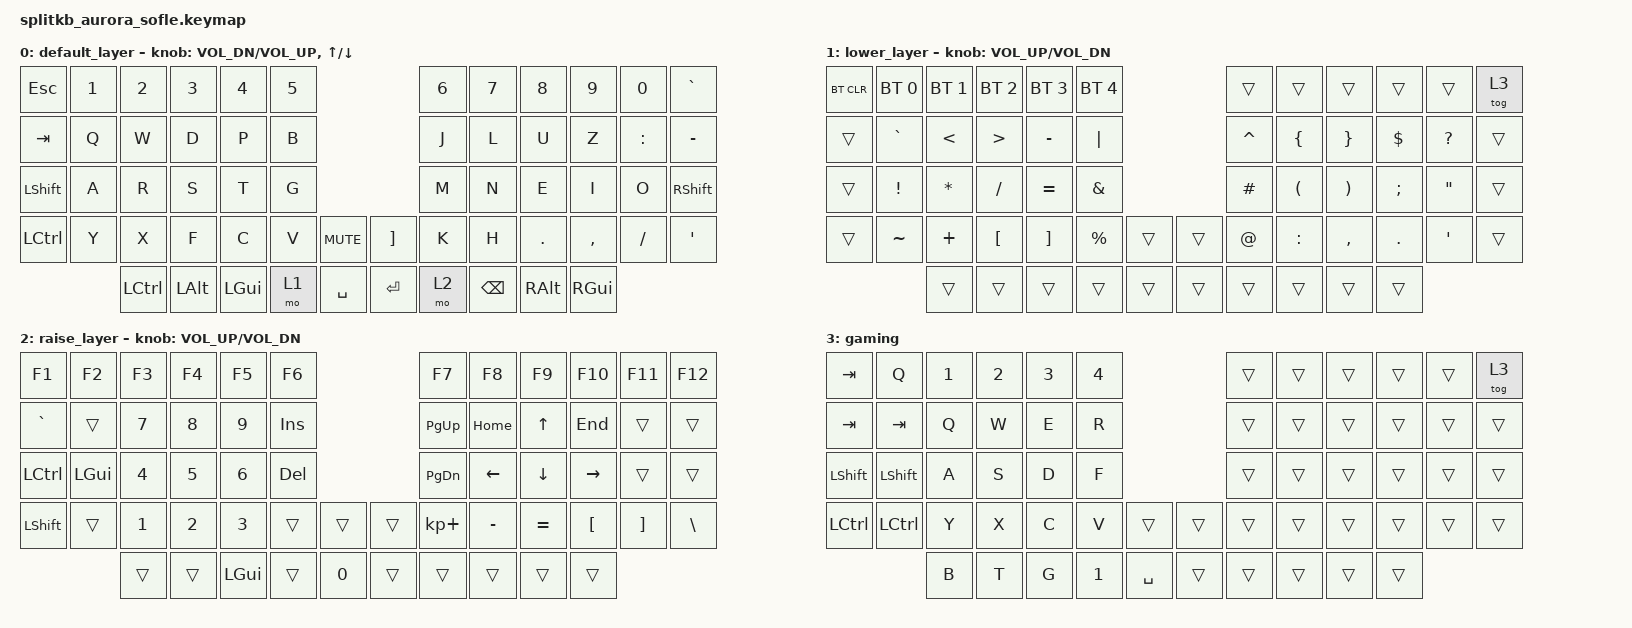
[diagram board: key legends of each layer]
/*
 * Copyright (c) 2023 The ZMK Contributors
 *
 * SPDX-License-Identifier: MIT
 */

#include <behaviors.dtsi>
#include <dt-bindings/zmk/bt.h>
#include <dt-bindings/zmk/keys.h>

/* Uncomment this block if using RGB */
/*
&led_strip {
    // chain-length = <6>;

    // chain-length = <35>; // Uncomment if using both per-key and underglow LEDs

    // chain-length = <29>; // Uncomment if using only per-key LEDs.
};
*/

/ {
    keymap {
        compatible = "zmk,keymap";

        default_layer {
            // ------------------------------------------------------------------------------------------------------------
            // |  ESC  |  1  |  2  |  3   |  4   |  5   |                   |  6   |  7    |  8    |  9   |   0   |   `   |
            // |  TAB  |  Q  |  W  |  E   |  R   |  T   |                   |  Y   |  U    |  I    |  O   |   P   |   -   |
            // |  CTRL |  A  |  S  |  D   |  F   |  G   |                   |  H   |  J    |  K    |  L   |   ;   |   '   |
            // | SHIFT |  Z  |  X  |  C   |  V   |  B   |   "["  |  |  "]"  |  N   |  M    |  ,    |  .   |   /   | SHIFT |
            //               |CTRL | ALT  | GUI  | LOWER|  SPACE |  | ENTER | RAISE| BSPC  | GUI   | RALT |

            bindings = <
&kp ESC         &kp N1  &kp N2     &kp N3    &kp N4    &kp N5                          &kp N6  &kp N7    &kp N8      &kp N9     &kp N0     &kp GRAVE
&kp TAB         &kp Q   &kp W      &kp D     &kp P     &kp B                           &kp J   &kp L     &kp U       &kp Z      &kp COLON  &kp MINUS
&kp LEFT_SHIFT  &kp A   &kp R      &kp S     &kp T     &kp G                           &kp M   &kp N     &kp E       &kp I      &kp O      &kp RIGHT_SHIFT
&kp LCTRL       &kp Y   &kp X      &kp F     &kp C     &kp V   &kp K_MUTE    &kp RBKT  &kp K   &kp H     &kp PERIOD  &kp COMMA  &kp FSLH   &kp APOSTROPHE
                        &kp LCTRL  &kp LALT  &kp LGUI  &mo 1   &kp SPACE     &kp RET   &mo 2   &kp BSPC  &kp RALT    &kp RGUI
            >;

            sensor-bindings =
                <&inc_dec_kp C_VOL_DN C_VOL_UP>,
                <&inc_dec_kp UP_ARROW DOWN_ARROW>;
        };

        lower_layer {
            // ------------------------------------------------------------------------------------------------------------
            // | BTCLR | BT1 | BT2 |  BT3 |  BT4 |  BT5 |                   |  UNL |       |       |      |       |       |
            // |  F1   |  F2 |  F3 |  F4  |  F5  |  F6  |                   |  F7  |  F8   |  F9   |  F10 |  F11  |  F12  |
            // |   `   |  !  |  @  |  #   |  $   |  %   |                   |  ^   |  &    |  *    |  (   |   )   |   ~   |
            // |       |     |     |      |      |      |        |  |       |      |  _    |  +    |  {   |   }   |  "|"  |
            //               |     |      |      |      |        |  |       |      |       |       |      |

            bindings = <
&bt BT_CLR  &bt BT_SEL 0  &bt BT_SEL 1   &bt BT_SEL 2      &bt BT_SEL 3       &bt BT_SEL 4                     &trans       &trans                &trans                 &trans         &trans             &tog 3
&trans      &kp GRAVE     &kp LESS_THAN  &kp GREATER_THAN  &kp MINUS          &kp PIPE                         &kp CARET    &kp LEFT_BRACE        &kp RIGHT_BRACE        &kp DOLLAR     &kp QMARK          &trans
&trans      &kp EXCL      &kp ASTERISK   &kp SLASH         &kp EQUAL          &kp AMPERSAND                    &kp HASH     &kp LEFT_PARENTHESIS  &kp RIGHT_PARENTHESIS  &kp SEMICOLON  &kp DOUBLE_QUOTES  &trans
&trans      &kp TILDE     &kp PLUS       &kp LEFT_BRACKET  &kp RIGHT_BRACKET  &kp PERCENT    &trans    &trans  &kp AT_SIGN  &kp COLON             &kp COMMA              &kp PERIOD     &kp SINGLE_QUOTE   &trans
                          &trans         &trans            &trans             &trans         &trans    &trans  &trans       &trans                &trans                 &trans
            >;

            sensor-bindings = <&inc_dec_kp C_VOL_UP C_VOL_DN>;
        };

        raise_layer {
            // ------------------------------------------------------------------------------------------------------------
            // |       |     |     |      |      |      |                   |      |       |       |      |       |       |
            // |   `   |  1  |  2  |  3   |  4   |  5   |                   |  6   |   7   |   8   |  9   |   0   |       |
            // |   F1  |  F2 |  F3 |  F4  |  F5  |  F6  |                   |      |   <-  |   v   |  ^   |  ->   |       |
            // |   F7  |  F8 |  F9 |  F10 |  F11 |  F12 |        |  |       |  +   |   -   |   =   |  [   |   ]   |   \   |
            //               |     |      |      |      |        |  |       |      |       |       |      |

            bindings = <
&kp F1            &kp F2        &kp F3  &kp F4  &kp F5        &kp F6                        &kp F7         &kp F8     &kp F9        &kp F10    &kp F11   &kp F12
&kp GRAVE         &trans        &kp N7  &kp N8  &kp N9        &kp INS                       &kp PAGE_UP    &kp HOME   &kp UP_ARROW  &kp END    &trans    &trans
&kp LEFT_CONTROL  &kp LEFT_GUI  &kp N4  &kp N5  &kp N6        &kp DELETE                    &kp PAGE_DOWN  &kp LEFT   &kp DOWN      &kp RIGHT  &trans    &trans
&kp LEFT_SHIFT    &trans        &kp N1  &kp N2  &kp N3        &trans      &trans    &trans  &kp KP_PLUS    &kp MINUS  &kp EQUAL     &kp LBKT   &kp RBKT  &kp BSLH
                                &trans  &trans  &kp LEFT_GUI  &trans      &kp N0    &trans  &trans         &trans     &trans        &trans
            >;

            sensor-bindings = <&inc_dec_kp C_VOL_UP C_VOL_DN>;
        };

        gaming {
            bindings = <
&kp TAB    &kp Q             &kp N1  &kp N2  &kp N3  &kp N4                             &trans  &trans  &trans  &trans  &trans  &tog 3
&kp TAB    &kp TAB           &kp Q   &kp W   &kp E   &kp R                              &trans  &trans  &trans  &trans  &trans  &trans
&kp LSHFT  &kp LEFT_SHIFT    &kp A   &kp S   &kp D   &kp F                              &trans  &trans  &trans  &trans  &trans  &trans
&kp LCTRL  &kp LEFT_CONTROL  &kp Y   &kp X   &kp C   &kp V         &trans       &trans  &trans  &trans  &trans  &trans  &trans  &trans
                             &kp B   &kp T   &kp G   &kp NUMBER_1  &kp SPACE    &trans  &trans  &trans  &trans  &trans
            >;
        };
    };
};
